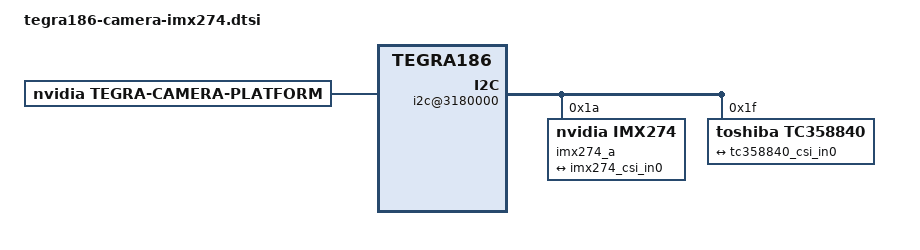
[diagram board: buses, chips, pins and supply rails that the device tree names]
/*
 * Copyright (c) 2015-2016, NVIDIA CORPORATION.  All rights reserved.
 *
 * This program is free software; you can redistribute it and/or modify
 * it under the terms of the GNU General Public License as published by
 * the Free Software Foundation; either version 2 of the License, or
 * (at your option) any later version.
 *
 * This program is distributed in the hope that it will be useful, but WITHOUT
 * ANY WARRANTY; without even the implied warranty of MERCHANTABILITY or
 * FITNESS FOR A PARTICULAR PURPOSE.  See the GNU General Public License for
 * more details.
 *
 * You should have received a copy of the GNU General Public License
 * along with this program.  If not, see <http://www.gnu.org/licenses/>.
 */

#include <dt-bindings/media/camera.h>
#include <dt-bindings/platform/t210/t210.h>

/ {
	host1x {
		vi@15700000 {
			num-channels = <2>;
			ports {
				#address-cells = <1>;
				#size-cells = <0>;
				port@0 {
					reg = <0>;
					imx274_vi_in0: endpoint {
						csi-port = <0>;
						bus-width = <4>;
						remote-endpoint = <&imx274_csi_out0>;
					};
				};
				port@1 {
					reg = <1>;
					tc358840_vi_in0: endpoint {
						csi-port = <2>;
						bus-width = <8>;
						remote-endpoint = <&tc358840_csi_out0>;
					};
				};
			};
		};

		nvcsi@150c0000 {
			num-channels = <2>;
			channel@0 {
				reg = <0>;
				ports {
					#address-cells = <1>;
					#size-cells = <0>;
					port@0 {
						reg = <0>;
						imx274_csi_in0: endpoint@0 {
							csi-port = <0>;
							bus-width = <4>;
							remote-endpoint = <&imx274_out0>;
						};
					};
					port@1 {
						reg = <1>;
						imx274_csi_out0: endpoint@1 {
							remote-endpoint = <&imx274_vi_in0>;
						};
					};
				};
			};
			channel@1 {
				reg = <1>;
				ports {
					#address-cells = <1>;
					#size-cells = <0>;
					port@0 {
						reg = <0>;
						tc358840_csi_in0: endpoint@2 {
							csi-port = <2>;
							bus-width = <8>;
							remote-endpoint = <&tc358840_out0>;
						};
					};
					port@1 {
						reg = <1>;
						tc358840_csi_out0: endpoint@3 {
							remote-endpoint = <&tc358840_vi_in0>;
						};
					};
				};
			};
		};
	};
	i2c@3180000 {
		imx274_a@1a {
			compatible = "nvidia,imx274";
			/* I2C device address */
			reg = <0x1a>;

			/* V4L2 device node location */
			devnode = "video0";

			/* Physical dimensions of sensor */
			physical_w = "3.674";
			physical_h = "2.738";


			/* Define any required hw resources needed by driver */
			/* ie. clocks, io pins, power sources */
			avdd-reg = "vana";
			iovdd-reg = "vif";
			dvdd-reg = "vdig";

			/* Defines number of frames to be dropped by driver internally after applying */
			/* sensor crop settings. Some sensors send corrupt frames after applying */
			/* crop co-ordinates */
			/*post_crop_frame_drop = "0";*/

			/**
			* A modeX node is required to support v4l2 driver
			* implementation with NVIDIA camera software stack
			*
			* mclk_khz = "";
			* Standard MIPI driving clock, typically 24MHz
			*
			* num_lanes = "";
			* Number of lane channels sensor is programmed to output
			*
			* tegra_sinterface = "";
			* The base tegra serial interface lanes are connected to
			*
			* discontinuous_clk = "";
			* The sensor is programmed to use a discontinuous clock on MIPI lanes
			*
			* dpcm_enable = "true";
			* The sensor is programmed to use a DPCM modes
			*
			* cil_settletime = "";
			* MIPI lane settle time value.
			* A "0" value attempts to autocalibrate based on mclk_multiplier
			*
			*
			*
			*
			* active_w = "";
			* Pixel active region width
			*
			* active_h = "";
			* Pixel active region height
			*
			* pixel_t = "";
			* The sensor readout pixel pattern
			*
			* readout_orientation = "0";
			* Based on camera module orientation.
			* Only change readout_orientation if you specifically
			* Program a different readout order for this mode
			*
			* line_length = "";
			* Pixel line length (width) for sensor mode.
			* This is used to calibrate features in our camera stack.
			*
			* mclk_multiplier = "";
			* Multiplier to MCLK to help time hardware capture sequence
			* TODO: Assign to PLL_Multiplier as well until fixed in core
			*
			* pix_clk_hz = "";
			* Sensor pixel clock used for calculations like exposure and framerate
			*
			*
			*
			*
			* inherent_gain = "";
			* Gain obtained inherently from mode (ie. pixel binning)
			*
			* min_gain_val = ""; (floor to 6 decimal places)
			* max_gain_val = ""; (floor to 6 decimal places)
			* Gain limits for mode
			*
			* min_exp_time = ""; (ceil to integer)
			* max_exp_time = ""; (ceil to integer)
			* Exposure Time limits for mode (us)
			*
			*
			* min_hdr_ratio = "";
			* max_hdr_ratio = "";
			* HDR Ratio limits for mode
			*
			* min_framerate = "";
			* max_framerate = "";
			* Framerate limits for mode (fps)
			*
			* embedded_metadata_height = "";
			* Sensor embedded metadata height in units of rows.
			* If sensor does not support embedded metadata value should be 0.
			*/
			mode0 { // IMX274_MODE_3840X2160
				mclk_khz = "24000";
				num_lanes = "4";
				tegra_sinterface = "serial_a";
				discontinuous_clk = "yes";
				dpcm_enable = "false";
				cil_settletime = "0";

				active_w = "3840";
				active_h = "2160";
				pixel_t = "bayer_rggb";
				readout_orientation = "90";
				line_length = "4200";
				inherent_gain = "1";
				mclk_multiplier = "25";
				pix_clk_hz = "756000000";

				min_gain_val = "1.0";
				max_gain_val = "16.0";
				min_hdr_ratio = "1";
				max_hdr_ratio = "64";
				min_framerate = "1.462526";
				max_framerate = "60";
				min_exp_time = "16.165";
				max_exp_time = "165770";
				embedded_metadata_height = "1";
			};
			ports {
				#address-cells = <1>;
				#size-cells = <0>;

				port@0 {
					reg = <0>;
					imx274_out0: endpoint {
						csi-port = <0>;
						bus-width = <4>;
						remote-endpoint = <&imx274_csi_in0>;
					};
				};
			};
		};
		tc358840@1f {
			compatible = "toshiba,tc358840";

			reg = <0x1f>;
			/* Physical dimensions of sensor */
			physical_w = "4.713";
			physical_h = "3.494";

			/* Sensor Model */
			sensor_model ="tc358840";
			devnode ="video1";
			ports {
				#address-cells = <1>;
				#size-cells = <0>;

				port@0 {
					reg = <0>;
					tc358840_out0: endpoint {
						csi-port = <2>;
						bus-width = <8>;
						remote-endpoint = <&tc358840_csi_in0>;
					};
				};
			};
		};
	};

	tegra-camera-platform {
		compatible = "nvidia, tegra-camera-platform";
		/**
		* Physical settings to calculate max ISO BW
		*
		* num_csi_lanes = <>;
		* Total number of CSI lanes when all cameras are active
		*
		* max_lane_speed = <>;
		* Max lane speed in Kbit/s
		*
		* min_bits_per_pixel = <>;
		* Min bits per pixel
		*
		* vi_peak_byte_per_pixel = <>;
		* Max byte per pixel for the VI ISO case
		*
		* vi_bw_margin_pct = <>;
		* Vi bandwidth margin in percentage
		*
		* max_pixel_rate = <>;
		* Max pixel rate in Kpixel/s for the ISP ISO case
		*
		* isp_peak_byte_per_pixel = <>;
		* Max byte per pixel for the ISP ISO case
		*
		* isp_bw_margin_pct = <>;
		* Isp bandwidth margin in percentage
		*/
		num_csi_lanes = <4>;
		max_lane_speed = <1500000>;
		min_bits_per_pixel = <10>;
		vi_peak_byte_per_pixel = <2>;
		vi_bw_margin_pct = <25>;
		max_pixel_rate = <750000>;
		isp_peak_byte_per_pixel = <2>;
		isp_bw_margin_pct = <25>;

		/**
		* The general guideline for naming badge_info contains 3 parts, and is as follows,
		* The first part is the camera_board_id for the module; if the module is in a FFD
		* platform, then use the platform name for this part.
		* The second part contains the position of the module, ex. “rear” or “front”.
		* The third part contains the last 6 characters of a part number which is found
		* in the module's specsheet from the vender.
		*/
		modules {
			module0 {
				badge = "imx274_front_A6V24";
				position = "rear";
				status = "okay";
				orientation = "1";
				drivernode0 {
					/* Declare PCL support driver (classically known as guid)  */
					pcl_id = "v4l2_sensor";
					devname = "imx274 2-001a";
					status = "okay";
					/* Declare the device-tree hierarchy to driver instance */
					proc-device-tree = "/proc/device-tree/i2c@3180000/imx274_a@1a";
				};
			};
		};
	};
};
